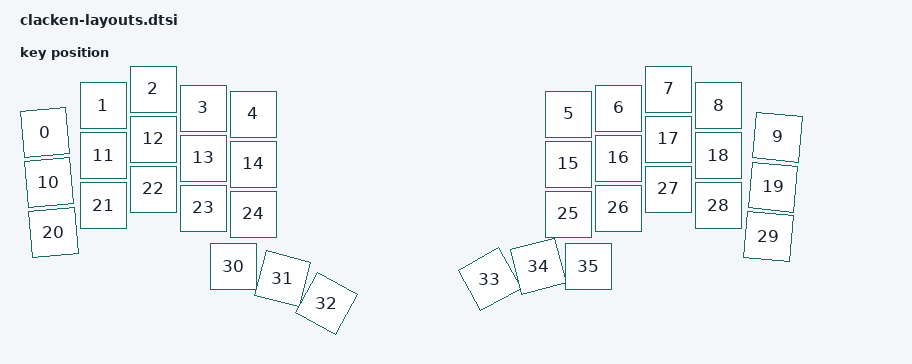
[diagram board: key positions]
#include <physical_layouts.dtsi>

/ {
    physical_layout0: physical_layout0 {
        compatible = "zmk,physical-layout";
        display-name = "Clacken Layout";

        keys  //                     w   h    x    y     rot    rx    ry
            = <&key_physical_attrs     100     100       0      92   (-500)      0      92 >
            , <&key_physical_attrs     100     100     121      33       0     121      33 >
            , <&key_physical_attrs     100     100     221       0       0     221       0 >
            , <&key_physical_attrs     100     100     321      38       0     321      38 >
            , <&key_physical_attrs     100     100     421      50       0     421      50 >
            , <&key_physical_attrs     100     100    1052      50       0    1052      50 >
            , <&key_physical_attrs     100     100    1152      38       0    1152      38 >
            , <&key_physical_attrs     100     100    1252       0       0    1252       0 >
            , <&key_physical_attrs     100     100    1352      33       0    1352      33 >
            , <&key_physical_attrs     100     100    1474      92     500    1474      92 >
            , <&key_physical_attrs     100     100       8     192   (-500)      8     192 >
            , <&key_physical_attrs     100     100     121     133       0     121     133 >
            , <&key_physical_attrs     100     100     221     100       0     221     100 >
            , <&key_physical_attrs     100     100     321     138       0     321     138 >
            , <&key_physical_attrs     100     100     421     150       0     421     150 >
            , <&key_physical_attrs     100     100    1052     150       0    1052     150 >
            , <&key_physical_attrs     100     100    1152     138       0    1152     138 >
            , <&key_physical_attrs     100     100    1252     100       0    1252     100 >
            , <&key_physical_attrs     100     100    1352     133       0    1352     133 >
            , <&key_physical_attrs     100     100    1465     192     500    1465     192 >
            , <&key_physical_attrs     100     100      17     291   (-500)     17     291 >
            , <&key_physical_attrs     100     100     121     233       0     121     233 >
            , <&key_physical_attrs     100     100     221     200       0     221     200 >
            , <&key_physical_attrs     100     100     321     238       0     321     238 >
            , <&key_physical_attrs     100     100     421     250       0     421     250 >
            , <&key_physical_attrs     100     100    1052     250       0    1052     250 >
            , <&key_physical_attrs     100     100    1152     238       0    1152     238 >
            , <&key_physical_attrs     100     100    1252     200       0    1252     200 >
            , <&key_physical_attrs     100     100    1352     233       0    1352     233 >
            , <&key_physical_attrs     100     100    1456     291     500    1456     291 >
            , <&key_physical_attrs     100     100     382     355       0     382     355 >
            , <&key_physical_attrs     100     100     494     369    1450     494     369 >
            , <&key_physical_attrs     100     100     598     411    2900     598     411 >
            , <&key_physical_attrs     100     100     876     411  (-2900)    876     411 >
            , <&key_physical_attrs     100     100     980     369  (-1450)    980     369 >
            , <&key_physical_attrs     100     100    1091     355       0    1091     355 >
            ;
    };
};
